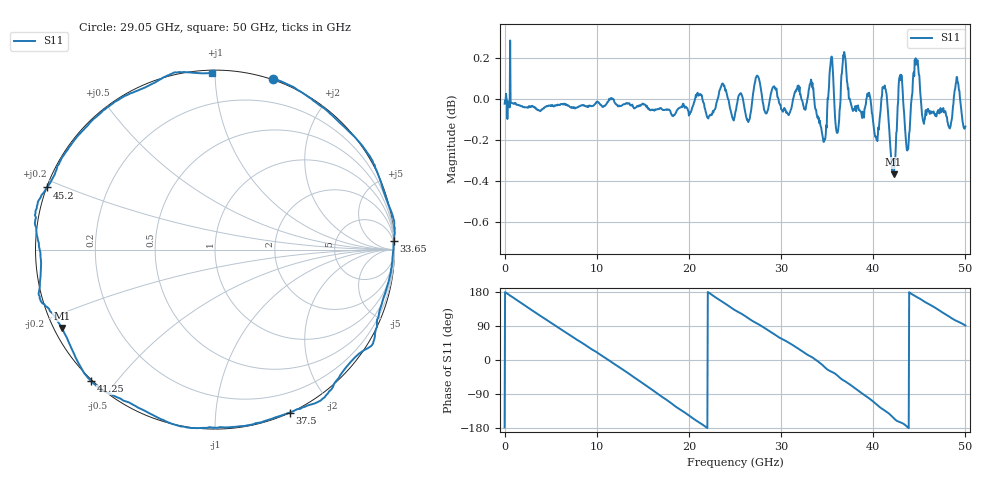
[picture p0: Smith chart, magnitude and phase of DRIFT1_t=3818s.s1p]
!Created with skrf (http://scikit-rf.org).
# Hz S RI R 50.0
!freq ReS11 ImS11
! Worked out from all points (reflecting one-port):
!   1001 points, 300 kHz to 50 GHz, reference 50 ohm
!   lowest |S11| = -0.4 dB at 42.2 GHz (marker M1), VSWR 47.41, Z = 1.12 - j12 ohm
!   phase of S11 starts at -178 deg and turns -811 deg over the sweep
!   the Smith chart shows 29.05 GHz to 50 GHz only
!   S11 on the Smith chart (normalised r, x): 29.05 GHz: -0.01, +1.39; 33.65 GHz: 3, +43; 37.5 GHz: 0.00, -1.56; 41.25 GHz: -0.00, -0.43; 45.2 GHz: 0.00, +0.18; 50 GHz: 0.02, +0.98
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300000  -0.9967 -0.0371
1.60029e9  -0.893 0.4423
3.40028e9  -0.5596 0.8222
6.250262e9  0.1958 0.9778
7.850253e9  0.5921 0.7999
9.550243e9  0.8898 0.4476
1.115023e10  0.9979 0.0289
1.250022e10  0.9359 -0.3407
1.415022e10  0.6759 -0.7302
1.580021e10  0.2556 -0.9603
1.73002e10  -0.1851 -0.9765
1.875019e10  -0.5842 -0.8043
2.165017e10  -0.9907 -0.1127
2.345016e10  -0.9255 0.3957
2.500015e10  -0.6554 0.7439
2.725014e10  -0.1461 1.001
2.905013e10  0.322 0.9528
3.125011e10  0.7694 0.6361
3.36501e10  0.9956 0.0459
3.555009e10  0.8689 -0.5381
3.750008e10  0.4161 -0.9081
3.945006e10  -0.1604 -0.9899
4.125005e10  -0.6901 -0.7342
4.220005e10  -0.8536 -0.4364
4.375004e10  -0.9724 -0.0368
4.520003e10  -0.9352 0.3466
4.770001e10  -0.5369 0.8347
5e10  -0.0182 0.9845
